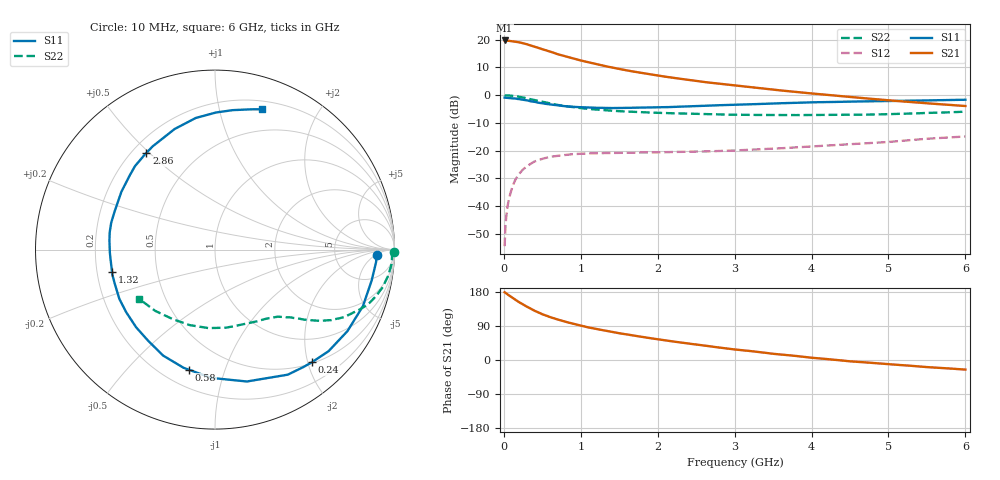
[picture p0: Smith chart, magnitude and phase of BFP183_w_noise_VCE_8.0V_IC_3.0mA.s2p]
! Infineon Technologies  Discrete & RF Semiconductors
! BFP183
! VCE = 8.0 V,  IC =  3.0 mA
! Common Emitter S-Parameters:  Jan 2016
# GHz  S  MA  R  50
!  f  S11  S21  S12  S22
! GHz  MAG  ANG  MAG  ANG  MAG  ANG  MAG  ANG
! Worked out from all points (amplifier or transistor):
!   210 points, 10 MHz to 6 GHz, reference 50 ohm
!   highest |S21| = 19.7 dB at 10 MHz (marker M1)
!   |S21| within 3 dB of that: start of sweep to 483.4 MHz
!   unconditionally stable (mu >= 1): 1.935 GHz to 5.833 GHz
!   at 185 MHz: K = 0.11, MSG = 24.0 dB, |S12| = -28.9 dB
!   at 1.52 GHz: K = 0.82, MSG = 15.1 dB, |S12| = -20.8 dB
!   at 6 GHz: K = 0.96, MSG = 5.5 dB, |S12| = -14.9 dB
!   lowest NFmin = 1.10 dB at 450 MHz
!   S11 on the Smith chart (normalised r, x): 10 MHz: 17, -6; 240 MHz: 0.52, -2.08; 580 MHz: 0.30, -0.76; 1.32 GHz: 0.26, -0.10; 2.86 GHz: 0.26, +0.49; 6 GHz: 0.28, +1.35
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0.01  0.9007 -2.0  9.643 178.7  0.0019 82.0  0.9969 -0.8
0.03  0.8954 -6.6  9.595 176.0  0.0061 86.8  0.9871 -2.5
0.07  0.8837 -15.0  9.476 170.1  0.0141 81.3  0.9829 -5.9
0.1  0.8823 -20.9  9.398 165.9  0.0199 78.3  0.9761 -8.5
0.15  0.8666 -31.6  9.159 158.9  0.0299 72.1  0.9582 -12.5
0.2  0.849 -41.8  8.951 152.3  0.0383 67.9  0.9338 -16.1
0.24  0.8281 -49.1  8.655 147.4  0.0443 63.7  0.9109 -19.0
0.3  0.8063 -59.8  8.229 140.8  0.0524 58.3  0.8721 -22.5
0.4  0.7561 -76.4  7.459 129.9  0.0638 50.3  0.8135 -27.5
0.5  0.715 -91.7  6.716 120.8  0.0714 43.7  0.7567 -31.3
0.58  0.685 -102.2  6.221 114.9  0.0759 39.6  0.7161 -33.6
0.7  0.6573 -116.1  5.453 106.8  0.0805 34.9  0.6649 -36.3
0.8  0.6302 -126.1  4.999 100.8  0.0838 31.4  0.6327 -38.1
1.02  0.6033 -146.4  4.141 89.7  0.0879 26.4  0.5792 -41.1
1.32  0.5872 -167.7  3.319 77.4  0.0904 22.1  0.5325 -44.7
1.6  0.5898 176.2  2.784 67.4  0.0914 20.0  0.5054 -48.0
2.02  0.601 155.4  2.229 54.2  0.0933 19.5  0.4783 -53.7
2.86  0.6607 125.3  1.566 31.4  0.099 21.6  0.446 -68.5
3.1  0.6764 118.6  1.437 25.8  0.1021 22.5  0.4411 -73.4
4.1  0.7444 96.5  1.04 4.3  0.121 25.0  0.4378 -97.6
5.1  0.7865 81.5  0.785 -12.5  0.1472 25.1  0.4562 -124.1
6  0.8248 71.5  0.636 -25.3  0.1798 19.6  0.5033 -146.8
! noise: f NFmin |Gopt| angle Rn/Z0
0.45  1.1  0.37  35  0.3
0.9  1.15  0.34  85  0.23
1.8  1.9  0.35  160  0.13
